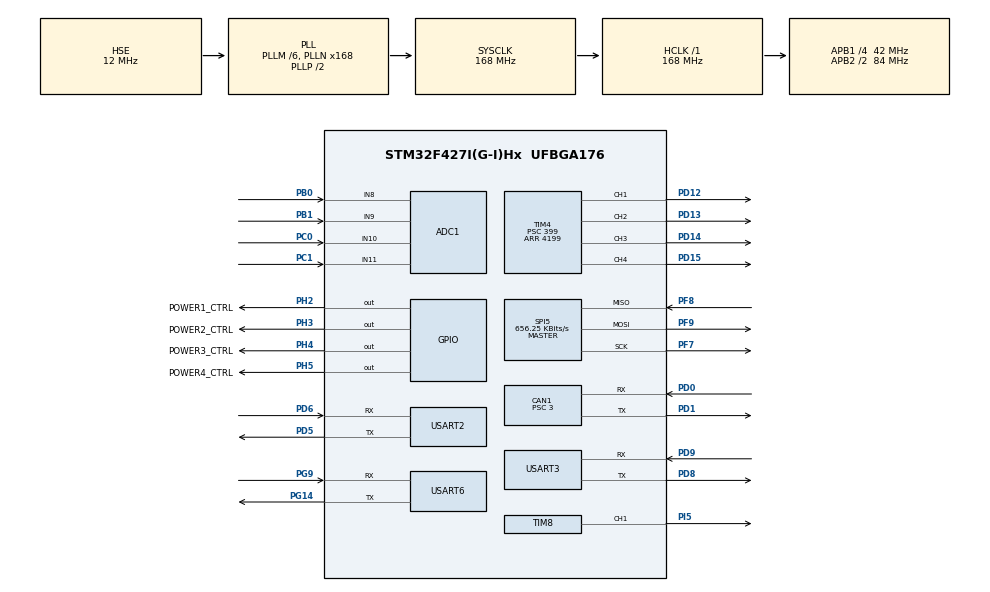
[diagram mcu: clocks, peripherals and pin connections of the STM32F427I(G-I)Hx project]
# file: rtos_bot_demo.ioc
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ADC1.Channel-0\#ChannelRegularConversion=ADC_CHANNEL_8
ADC1.Channel-1\#ChannelRegularConversion=ADC_CHANNEL_8
ADC1.Channel-2\#ChannelRegularConversion=ADC_CHANNEL_8
ADC1.Channel-3\#ChannelRegularConversion=ADC_CHANNEL_8
ADC1.ContinuousConvMode=ENABLE
ADC1.DMAContinuousRequests=ENABLE
ADC1.DiscontinuousConvMode=DISABLE
ADC1.NbrOfConversion=4
ADC1.NbrOfConversionFlag=1
ADC1.Rank-0\#ChannelRegularConversion=1
ADC1.Rank-1\#ChannelRegularConversion=2
ADC1.Rank-2\#ChannelRegularConversion=3
ADC1.Rank-3\#ChannelRegularConversion=4
ADC1.SamplingTime-0\#ChannelRegularConversion=ADC_SAMPLETIME_3CYCLES
ADC1.SamplingTime-1\#ChannelRegularConversion=ADC_SAMPLETIME_3CYCLES
ADC1.SamplingTime-2\#ChannelRegularConversion=ADC_SAMPLETIME_3CYCLES
ADC1.SamplingTime-3\#ChannelRegularConversion=ADC_SAMPLETIME_3CYCLES
ADC1.ScanConvMode=ENABLE
ADC1.master=1
CAN1.ABOM=ENABLE
CAN1.BS1=CAN_BS1_9TQ
CAN1.BS2=CAN_BS2_4TQ
CAN1.CalculateBaudRate=1000000
CAN1.CalculateTimeQuantum=71.42857142857143
CAN1.Prescaler=3
Dma.ADC1.0.Direction=DMA_PERIPH_TO_MEMORY
Dma.ADC1.0.FIFOMode=DMA_FIFOMODE_DISABLE
Dma.ADC1.0.Instance=DMA2_Stream0
Dma.ADC1.0.MemDataAlignment=DMA_MDATAALIGN_HALFWORD
Dma.ADC1.0.MemInc=DMA_MINC_ENABLE
Dma.ADC1.0.Mode=DMA_CIRCULAR
Dma.ADC1.0.PeriphDataAlignment=DMA_PDATAALIGN_HALFWORD
Dma.ADC1.0.PeriphInc=DMA_PINC_DISABLE
Dma.ADC1.0.Priority=DMA_PRIORITY_HIGH
Dma.Request0=ADC1
FREERTOS.INCLUDE_vTaskDelayUntil=1
FREERTOS.Tasks01=HMITask,-3,128,HMI_Task,Default,NULL,Dynamic,NULL,NULL;ComTask,1,128,Com_Task,Default,NULL,Dynamic,NULL,NULL;TopTask,-1,128,Top_Task,Default,NULL,Dynamic,NULL,NULL;ActionTask,-3,128,Action_Task,Default,NULL,Dynamic,NULL,NULL;MearmTask,0,128,Mearm_Task,Default,NULL,Dynamic,NULL,NULL;MotcorTask,-3,128,Motcor_Task,Default,NULL,Dynamic,NULL,NULL;PirTask,-3,128,Pir_Task,Default,NULL,Dynamic,NULL,NULL;MotorTask,0,128,Motor_Task,Default,NULL,Dynamic,NULL,NULL
Mcu.Family=STM32F4
Mcu.Name=STM32F427I(G-I)Hx
Mcu.Package=UFBGA176
NVIC.CAN1_RX0_IRQn=true\:5\:0\:false\:false\:true\:true\:true\:true\:true
NVIC.CAN1_TX_IRQn=true\:5\:0\:false\:false\:true\:true\:true\:true\:true
NVIC.DMA2_Stream0_IRQn=true\:5\:0\:false\:false\:true\:true\:false\:true\:true
NVIC.PriorityGroup=NVIC_PRIORITYGROUP_4
NVIC.TIM1_UP_TIM10_IRQn=true\:0\:0\:false\:false\:true\:false\:false\:true\:true
NVIC.TimeBase=TIM1_UP_TIM10_IRQn
NVIC.TimeBaseIP=TIM1
NVIC.USART2_IRQn=true\:5\:0\:false\:false\:true\:true\:true\:true\:true
NVIC.USART3_IRQn=true\:5\:0\:false\:false\:true\:true\:true\:true\:true
NVIC.USART6_IRQn=true\:5\:0\:false\:false\:true\:true\:true\:true\:true
PA13.Mode=Serial_Wire
PA13.Signal=SYS_JTMS-SWDIO
PA14.Mode=Serial_Wire
PA14.Signal=SYS_JTCK-SWCLK
PA9.Signal=S_TIM1_CH2
PB0.Signal=ADCx_IN8
PB1.Signal=ADCx_IN9
PC0.Signal=ADCx_IN10
PC1.Signal=ADCx_IN11
PD0.Mode=CAN_Activate
PD0.Signal=CAN1_RX
PD1.Mode=CAN_Activate
PD1.Signal=CAN1_TX
PD12.Signal=S_TIM4_CH1
PD13.Signal=S_TIM4_CH2
PD14.Signal=S_TIM4_CH3
PD15.Signal=S_TIM4_CH4
PD5.Mode=Asynchronous
PD5.Signal=USART2_TX
PD6.Mode=Asynchronous
PD6.Signal=USART2_RX
PD8.Mode=Asynchronous
PD8.Signal=USART3_TX
PD9.Mode=Asynchronous
PD9.Signal=USART3_RX
PF7.Mode=Full_Duplex_Master
PF7.Signal=SPI5_SCK
PF8.Mode=Full_Duplex_Master
PF8.Signal=SPI5_MISO
PF9.Mode=Full_Duplex_Master
PF9.Signal=SPI5_MOSI
PG14.Mode=Asynchronous
PG14.Signal=USART6_TX
PG9.Mode=Asynchronous
PG9.Signal=USART6_RX
PH0/OSC_IN.Mode=HSE-External-Oscillator
PH0/OSC_IN.Signal=RCC_OSC_IN
PH1/OSC_OUT.Mode=HSE-External-Oscillator
PH1/OSC_OUT.Signal=RCC_OSC_OUT
PH2.GPIO_Label=POWER1_CTRL
PH2.Signal=GPIO_Output
PH3.GPIO_Label=POWER2_CTRL
PH3.Signal=GPIO_Output
PH4.GPIO_Label=POWER3_CTRL
PH4.Signal=GPIO_Output
PH5.GPIO_Label=POWER4_CTRL
PH5.Signal=GPIO_Output
PI5.Signal=S_TIM8_CH1
ProjectManager.HeapSize=0x200
ProjectManager.StackSize=0x400
ProjectManager.TargetToolchain=MDK-ARM V5
RCC.48MHZClocksFreq_Value=84000000
RCC.AHBFreq_Value=168000000
RCC.APB1CLKDivider=RCC_HCLK_DIV4
RCC.APB1Freq_Value=42000000
RCC.APB1TimFreq_Value=84000000
RCC.APB2CLKDivider=RCC_HCLK_DIV2
RCC.APB2Freq_Value=84000000
RCC.APB2TimFreq_Value=168000000
RCC.CortexFreq_Value=168000000
RCC.HCLKFreq_Value=168000000
RCC.HSE_VALUE=12000000
RCC.HSI_VALUE=16000000
RCC.LSE_VALUE=32768
RCC.PLLM=6
RCC.PLLN=168
RCC.PLLSourceVirtual=RCC_PLLSOURCE_HSE
RCC.SYSCLKFreq_VALUE=168000000
RCC.SYSCLKSource=RCC_SYSCLKSOURCE_PLLCLK
RCC.VCOOutputFreq_Value=336000000
SH.ADCx_IN10.0=ADC1_IN10,IN10
SH.ADCx_IN11.0=ADC1_IN11,IN11
SH.ADCx_IN8.0=ADC1_IN8,IN8
SH.ADCx_IN9.0=ADC1_IN9,IN9
SH.S_TIM1_CH2.0=TIM1_CH2
SH.S_TIM4_CH1.0=TIM4_CH1,PWM Generation1 CH1
SH.S_TIM4_CH2.0=TIM4_CH2,PWM Generation2 CH2
SH.S_TIM4_CH3.0=TIM4_CH3,PWM Generation3 CH3
SH.S_TIM4_CH4.0=TIM4_CH4,PWM Generation4 CH4
SH.S_TIM8_CH1.0=TIM8_CH1,PWM Generation1 CH1
SPI5.BaudRatePrescaler=SPI_BAUDRATEPRESCALER_128
SPI5.CalculateBaudRate=656.25 KBits/s
SPI5.Direction=SPI_DIRECTION_2LINES
SPI5.Mode=SPI_MODE_MASTER
SPI5.VirtualType=VM_MASTER
TIM4.AutoReloadPreload=TIM_AUTORELOAD_PRELOAD_ENABLE
TIM4.Channel-PWM\ Generation1\ CH1=TIM_CHANNEL_1
TIM4.Channel-PWM\ Generation2\ CH2=TIM_CHANNEL_2
TIM4.Channel-PWM\ Generation3\ CH3=TIM_CHANNEL_3
TIM4.Channel-PWM\ Generation4\ CH4=TIM_CHANNEL_4
TIM4.Period=4199
TIM4.Prescaler=399
TIM8.AutoReloadPreload=TIM_AUTORELOAD_PRELOAD_ENABLE
TIM8.Channel-PWM\ Generation1\ CH1=TIM_CHANNEL_1
TIM8.Period=4199
TIM8.Prescaler=799
USART2.VirtualMode=VM_ASYNC
USART3.VirtualMode=VM_ASYNC
USART6.VirtualMode=VM_ASYNC
VP_FREERTOS_VS_CMSIS_V1.Mode=CMSIS_V1
VP_SYS_VS_tim1.Mode=TIM1
VP_TIM4_VS_ClockSourceINT.Mode=Internal
board=custom

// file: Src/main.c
/* USER CODE BEGIN Header */
/**
  ******************************************************************************
  * @file           : main.c
  * @brief          : Main program body
  ******************************************************************************
  * @attention
  *
  * <h2><center>&copy; Copyright (c) 2022 STMicroelectronics.
  * All rights reserved.</center></h2>
  *
  * This software component is licensed by ST under Ultimate Liberty license
  * SLA0044, the "License"; You may not use this file except in compliance with
  * the License. You may obtain a copy of the License at:
  *                             www.st.com/SLA0044
  *
  ******************************************************************************
  */
/* USER CODE END Header */
#include "main.h"
#include "cmsis_os.h"
#include "adc.h"
#include "can.h"
#include "dma.h"
#include "spi.h"
#include "tim.h"
#include "usart.h"
#include "gpio.h"

/* USER CODE BEGIN Includes */
#include "bsp_can.h"
#include "imu.h"
#include "TaskHMI.h"
/* USER CODE END Includes */

/* USER CODE BEGIN PV */
extern uint16_t TIM_COUNT[2];
extern uint8_t UART_Buffer[100];
uint8_t Res[8];
uint8_t buf1[256];
uint8_t res_hmi;
/* USER CODE END PV */

void SystemClock_Config(void);
void MX_FREERTOS_Init(void);

int main(void)
{

  /* MCU Configuration--------------------------------------------------------*/

  /* Reset of all peripherals, Initializes the Flash interface and the Systick. */
  HAL_Init();

  /* Configure the system clock */
  SystemClock_Config();

  /* Initialize all configured peripherals */
  MX_GPIO_Init();
  MX_DMA_Init();
  MX_CAN1_Init();
  MX_TIM8_Init();
  MX_USART2_UART_Init();
  MX_SPI5_Init();
  MX_ADC1_Init();
  MX_TIM4_Init();
  MX_USART3_UART_Init();
  MX_USART6_UART_Init();
  /* USER CODE BEGIN 2 */
	mpu_device_init();
	init_quaternion();
  my_can_filter_init_recv_all(&hcan1);     //配置CAN过滤器
  HAL_CAN_Receive_IT(&hcan1, CAN_FIFO0);   //启动CAN接收中断
	HAL_TIM_PWM_Start(&htim4, TIM_CHANNEL_1);
	HAL_TIM_PWM_Start(&htim4, TIM_CHANNEL_2);
	HAL_TIM_PWM_Start(&htim4, TIM_CHANNEL_3);
	HAL_TIM_PWM_Start(&htim4, TIM_CHANNEL_4);
	HAL_TIM_PWM_Start(&htim8, TIM_CHANNEL_1);
	HAL_GPIO_WritePin(GPIOH, POWER1_CTRL_Pin|POWER2_CTRL_Pin|POWER3_CTRL_Pin|POWER4_CTRL_Pin, GPIO_PIN_SET); // switch on 24v power

	HAL_UART_Receive_IT(&huart2,Res,8);
	HAL_UART_Receive_IT(&huart6,&res_hmi,1);
	HMISendstart();
  /* USER CODE END 2 */
	HAL_Delay(800);
  /* Call init function for freertos objects (in freertos.c) */
  MX_FREERTOS_Init();

  /* Start scheduler */
  osKernelStart();

  /* We should never get here as control is now taken by the scheduler */
  /* Infinite loop */
  while (1)
  {
    /* USER CODE BEGIN 3 */
		//GetYaw();
		//set_moto_current(&hcan1,1000,0,0,0);
  }
  /* USER CODE END 3 */
}

void SystemClock_Config(void)
{
  RCC_OscInitTypeDef RCC_OscInitStruct = {0};
  RCC_ClkInitTypeDef RCC_ClkInitStruct = {0};

  /** Configure the main internal regulator output voltage
  */
  __HAL_RCC_PWR_CLK_ENABLE();
  __HAL_PWR_VOLTAGESCALING_CONFIG(PWR_REGULATOR_VOLTAGE_SCALE1);

  /** Initializes the RCC Oscillators according to the specified parameters
  * in the RCC_OscInitTypeDef structure.
  */
  RCC_OscInitStruct.OscillatorType = RCC_OSCILLATORTYPE_HSE;
  RCC_OscInitStruct.HSEState = RCC_HSE_ON;
  RCC_OscInitStruct.PLL.PLLState = RCC_PLL_ON;
  RCC_OscInitStruct.PLL.PLLSource = RCC_PLLSOURCE_HSE;
  RCC_OscInitStruct.PLL.PLLM = 6;
  RCC_OscInitStruct.PLL.PLLN = 168;
  RCC_OscInitStruct.PLL.PLLP = RCC_PLLP_DIV2;
  RCC_OscInitStruct.PLL.PLLQ = 4;
  if (HAL_RCC_OscConfig(&RCC_OscInitStruct) != HAL_OK)
  {
    Error_Handler();
  }

  /** Initializes the CPU, AHB and APB buses clocks
  */
  RCC_ClkInitStruct.ClockType = RCC_CLOCKTYPE_HCLK|RCC_CLOCKTYPE_SYSCLK
                              |RCC_CLOCKTYPE_PCLK1|RCC_CLOCKTYPE_PCLK2;
  RCC_ClkInitStruct.SYSCLKSource = RCC_SYSCLKSOURCE_PLLCLK;
  RCC_ClkInitStruct.AHBCLKDivider = RCC_SYSCLK_DIV1;
  RCC_ClkInitStruct.APB1CLKDivider = RCC_HCLK_DIV4;
  RCC_ClkInitStruct.APB2CLKDivider = RCC_HCLK_DIV2;

  if (HAL_RCC_ClockConfig(&RCC_ClkInitStruct, FLASH_LATENCY_5) != HAL_OK)
  {
    Error_Handler();
  }
}

void HAL_TIM_PeriodElapsedCallback(TIM_HandleTypeDef *htim)
{
  if (htim->Instance == TIM1) {
    HAL_IncTick();
  }
}

void Error_Handler(void)
{
}

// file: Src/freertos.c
/* USER CODE BEGIN Header */
/**
  ******************************************************************************
  * File Name          : freertos.c
  * Description        : Code for freertos applications
  ******************************************************************************
  * @attention
  *
  * <h2><center>&copy; Copyright (c) 2022 STMicroelectronics.
  * All rights reserved.</center></h2>
  *
  * This software component is licensed by ST under Ultimate Liberty license
  * SLA0044, the "License"; You may not use this file except in compliance with
  * the License. You may obtain a copy of the License at:
  *                             www.st.com/SLA0044
  *
  ******************************************************************************
  */
/* USER CODE END Header */

#include "FreeRTOS.h"
#include "task.h"
#include "main.h"
#include "cmsis_os.h"

/* USER CODE BEGIN Includes */
#include "TaskMotor.h"
#include "TaskHMI.h"
#include "TaskCom.h"
#include "TaskAction.h"
#include "TaskMearm.h"
#include "TaskPir.h"
#include "TaskTop.h"
#include "TaskMotcor.h"
#include "myqueue.h"
#include "adc.h"
/* USER CODE END Includes */

/* USER CODE BEGIN PTD */
extern QueueHandle_t ArmAttitudeQueueHandle;
extern QueueHandle_t bottom_moveHandle;
extern QueueHandle_t stratQueueHandle;
/* USER CODE END PTD */

/* USER CODE BEGIN Variables */
extern int start_cmd;
uint8_t rx1;
/* USER CODE END Variables */
osThreadId HMITaskHandle;
osThreadId ComTaskHandle;
osThreadId TopTaskHandle;
osThreadId ActionTaskHandle;
osThreadId MearmTaskHandle;
osThreadId GM6020TaskHandle;
osThreadId PirTaskHandle;
osThreadId MotorTaskHandle;

void HMI_Task(void const * argument);
void Com_Task(void const * argument);
void Top_Task(void const * argument);
void Action_Task(void const * argument);
void Mearm_Task(void const * argument);
void GM6020_Task(void const * argument);
void Pir_Task(void const * argument);
void Motor_Task(void const * argument);

void MX_FREERTOS_Init(void); /* (MISRA C 2004 rule 8.1) */

/* GetIdleTaskMemory prototype (linked to static allocation support) */
void vApplicationGetIdleTaskMemory( StaticTask_t **ppxIdleTaskTCBBuffer, StackType_t **ppxIdleTaskStackBuffer, uint32_t *pulIdleTaskStackSize );

/* USER CODE BEGIN GET_IDLE_TASK_MEMORY */
static StaticTask_t xIdleTaskTCBBuffer;
static StackType_t xIdleStack[configMINIMAL_STACK_SIZE];

void vApplicationGetIdleTaskMemory( StaticTask_t **ppxIdleTaskTCBBuffer, StackType_t **ppxIdleTaskStackBuffer, uint32_t *pulIdleTaskStackSize )
{
  *ppxIdleTaskTCBBuffer = &xIdleTaskTCBBuffer;
  *ppxIdleTaskStackBuffer = &xIdleStack[0];
  *pulIdleTaskStackSize = configMINIMAL_STACK_SIZE;
  /* place for user code */
}
/* USER CODE END GET_IDLE_TASK_MEMORY */

void MX_FREERTOS_Init(void) {
  /* USER CODE BEGIN Init */
  queue_init();
	pid_para();
	mearm_init();
	GM_init();
  /* USER CODE END Init */

  /* Create the thread(s) */
  /* definition and creation of HMITask */
  osThreadDef(HMITask, HMI_Task, osPriorityNormal, 0, 128);
  HMITaskHandle = osThreadCreate(osThread(HMITask), NULL);

  /* definition and creation of ComTask */
  osThreadDef(ComTask, Com_Task, osPriorityBelowNormal , 0, 128);
  ComTaskHandle = osThreadCreate(osThread(ComTask), NULL);

  /* definition and creation of TopTask */
  osThreadDef(TopTask, Top_Task, osPriorityBelowNormal, 0, 512);
  TopTaskHandle = osThreadCreate(osThread(TopTask), NULL);

  /* definition and creation of ActionTask */
  osThreadDef(ActionTask, Action_Task, osPriorityIdle, 0, 128);
  ActionTaskHandle = osThreadCreate(osThread(ActionTask), NULL);

  /* definition and creation of MearmTask */
  osThreadDef(MearmTask, Mearm_Task, osPriorityNormal, 0, 256);
  MearmTaskHandle = osThreadCreate(osThread(MearmTask), NULL);

  /* definition and creation of MotcorTask */
  osThreadDef(GM6020Task, GM6020_Task, osPriorityNormal, 0, 256);
  GM6020TaskHandle = osThreadCreate(osThread(GM6020Task), NULL);

  /* definition and creation of PirTask */
  osThreadDef(PirTask, Pir_Task, osPriorityIdle, 0, 128);
  PirTaskHandle = osThreadCreate(osThread(PirTask), NULL);

  /* definition and creation of MotorTask */
  osThreadDef(MotorTask, Motor_Task, osPriorityNormal, 0, 256);
  MotorTaskHandle = osThreadCreate(osThread(MotorTask), NULL);

}

void HMI_Task(void const * argument)
{

  /* USER CODE BEGIN HMI_Task */
  /* Infinite loop */
  for(;;)
  {
    osDelay(100);
  }
  /* USER CODE END HMI_Task */
}

void Com_Task(void const * argument)
{
  /* USER CODE BEGIN Com_Task */
  /* Infinite loop */
//	char pWriteBuffer[2048];
  for(;;)
  {
//		vTaskList((char *)&pWriteBuffer);
//		printf("task_name   task_state  priority   stack  tasK_num\r\n");
//		printf("%s\n", pWriteBuffer);
		osDelay(1000);
//	RUNNING_CHAR		( 'X' )
//	BLOCKED_CHAR		( 'B' )
//	READY_CHAR			( 'R' )
//	DELETED_CHAR		( 'D' )
//	SUSPENDED_CHAR	( 'S' )
  }
  /* USER CODE END Com_Task */
}

void Top_Task(void const * argument)
{
  /* USER CODE BEGIN Top_Task */
  /* Infinite loop */

		init_pos();
		GM_detect();
		vTaskDelay(800);

//-------------try code-------------begin//
//
//const MecArmAttiSturcture scan_circle ={0,   270,    0.38,    0.09,    -4,     {0, 0, 0, 0}};		//ɨ��Բ������
//const MecArmAttiSturcture scan_cor ={0,   315,    0.28,    0.10,    -4,     {0, 0, 0, 0}};
//const MecArmAttiSturcture scan_circle2 ={0,   0,    0.30,    0.12,    -4,     {0, 0, 0, 0}};			//ɨϸԲ������
//const MecArmAttiSturcture scan_cor_back ={0,   315,    0.24,    0.26,    -4,     {0, 0, 0, 0}};
//const MecArmAttiSturcture scan_circle2_2 ={ 0, 180 , 0.29,    0.15,    -4,     {0, 0, 0, 0}};			//ɨϸԲ������
//MecArmAttiSturcture try1 ={1,   0,    0.08,    0.08,   -18,     {0, 0, 0, 0}};
//MecArmAttiSturcture try2 ={0,   300,    0.35,    0.08,    -18,     {0, 0, 0, 0}};
//MecArmAttiSturcture try3 ={0,   150,    0.35,    0.08,    -18,     {0, 0, 0, 0}};
//
// 		line_correct(270);
//		TASK_LIST();
//		Move_Servo(-0.5,0,0,0,0,0,0);
//		Mearm_Move(scan_circle2_2);
//		move_grap(180);
//		vTaskDelay(1000);
//		GM_kd(1);
//		circle_logic(0,s1_angle);
//		move_get_fang(0,0.30,-0.025);
//		Grab_up(1,180,270,0.27,0.041);
//		move_to(0,550, 0);
//		Waitfinishmoving();
//		Mearm_Move(try3);
//		vTaskDelay(1000);
//		Mearm_Move(try2);
//		vTaskDelay(2000);
//		position_correct();
//
//-------------try code-------------end//

//-------------run code-------------begin//

//		while(1)
//		{
//			if(start_cmd==1)
//			{
//					vTaskDelay(2000);
//					break;
//			}
//		}
//		start_cmd=2;
	if(xQueueReceive(stratQueueHandle, &rx1, portMAX_DELAY))
	{

		Action_QR();
		Action_color ();
		Action_rotate_grab(1);

		move_to(0, 400 , 0);
		Waitfinishmoving();
		move_to(-930, 0, 0);
		Waitfinishmoving();
		Action_WORK1(1);

		move_to(-720, 0, 0);
		Waitfinishmoving();
		move_to(0, -750, 0);

		Waitfinishmoving();

		Action_WORK2(1);
		Action_Back();
		Action_rotate_grab(2);

		move_to(0, 400, 0);
		Waitfinishmoving();
		move_to(-930, 0, 0);
		Waitfinishmoving();

		Action_WORK1(2);

		move_to(-700, 0, 0);
		Waitfinishmoving();
		move_to(0, -765, 0);
		Waitfinishmoving();

		Action_WORK2(2);

		move_to(0, -920, 0);
		Waitfinishmoving();
		line_correct(0);
		move_to(1730, 0, 0);
		Waitfinishmoving();
		move_to(0, -100, 0);
}
//-------------run code-------------end//

  for(;;)
  {
//		Grab_up(1,180,270,0.27,0.041);
//		vTaskDelay(1000);
//		move_to(-700, 0, 0);
//		Waitfinishmoving();
//		move_to(0, -765, 0);
//		Waitfinishmoving();
//		vTaskDelay(2000);
//		move_to(0, 600, 0);
//		vTaskDelay(2000);
//		Waitfinishmoving();
//		Action_QR();
//		Grab_up(1,180,270,0.27,0.041);
//		Action_rotate_grab();
//		printf("eodo \r\n");
//		Grab_up();

  }
  /* USER CODE END Top_Task */
}

void Action_Task(void const * argument)
{
  /* USER CODE BEGIN Action_Task */
  /* Infinite loop */
  for(;;)
  {
    osDelay(100);
  }
  /* USER CODE END Action_Task */
}

void Mearm_Task(void const * argument)
{
  /* USER CODE BEGIN Mearm_Task */
//	MecArmAttiSturcture  rx;
  /* Infinite loop */

  for(;;)
  {
		Task_Mearm();
    osDelay(10);
  }
  /* USER CODE END Mearm_Task */
}

void GM6020_Task(void const * argument)
{
  /* USER CODE BEGIN Motcor_Task */
  /* Infinite loop */
  for(;;)
  {
		rm_servo();
    osDelay(20);
  }
  /* USER CODE END Motcor_Task */
}

void Pir_Task(void const * argument)
{
  /* USER CODE BEGIN Pir_Task */

	/* Infinite loop */
  for(;;)
  {
    osDelay(100);

  }
  /* USER CODE END Pir_Task */
}

void Motor_Task(void const * argument)
{
  /* USER CODE BEGIN Motor_Task */

  /* Infinite loop */
  for(;;)
  {
		Task_Motor();
    osDelay(10);

  }
  /* USER CODE END Motor_Task */
}

/************************ (C) COPYRIGHT STMicroelectronics *****END OF FILE****/
